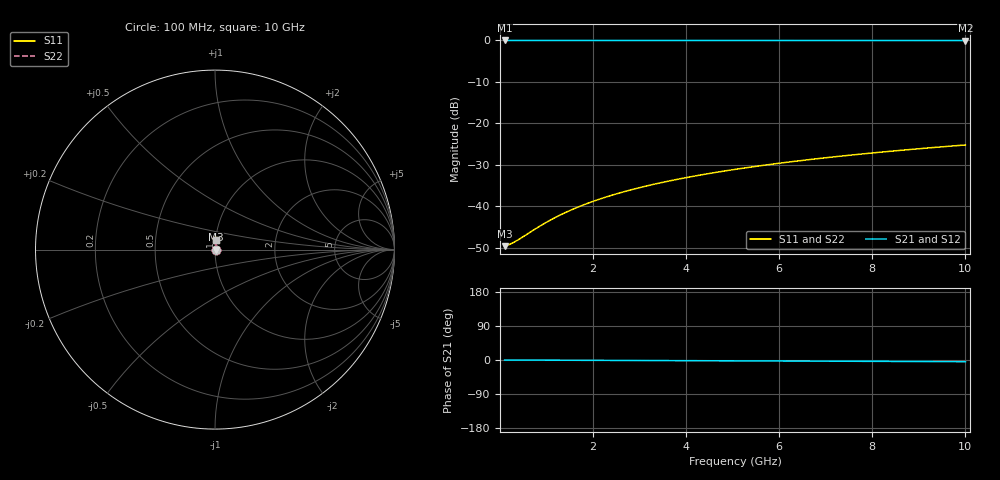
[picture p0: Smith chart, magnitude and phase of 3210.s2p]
# Hz S RI R 50.00
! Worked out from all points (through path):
!   100 points, 100 MHz to 10 GHz, reference 50 ohm
!   highest |S21| = -0.03 dB at 100 MHz (marker M1); lowest = 0.0 dB at 10 GHz (marker M2)
!   lowest |S11| = -49.6 dB at 100 MHz (marker M3), VSWR 1.01, Z = 50.3 + j0.0547 ohm
!   |S11| at or under -10 dB: start of sweep to end of sweep
!   |S22| runs from -49.6 to -25.2 dB; largest |S21 - S12| = 0
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1e8  0.00325 0.000544  0.9967 -0.000769  0.9967 -0.000769  0.00325 0.000544
2e8  0.00328 0.00109  0.9967 -0.00154  0.9967 -0.00154  0.00328 0.00109
3e8  0.00329 0.00163  0.9967 -0.00231  0.9967 -0.00231  0.00329 0.00163
4e8  0.00331 0.00217  0.9967 -0.00308  0.9967 -0.00308  0.00331 0.00217
9e8  0.00338 0.00489  0.9966 -0.00692  0.9966 -0.00692  0.00338 0.00489
1.2e9  0.00343 0.00652  0.9966 -0.00923  0.9966 -0.00923  0.00343 0.00652
1.5e9  0.00348 0.00815  0.9965 -0.0115  0.9965 -0.0115  0.00348 0.00815
1.8e9  0.00353 0.00978  0.9965 -0.0138  0.9965 -0.0138  0.00353 0.00978
2.1e9  0.00359 0.0114  0.9964 -0.0161  0.9964 -0.0161  0.00359 0.0114
2.5e9  0.00368 0.0136  0.9963 -0.0192  0.9963 -0.0192  0.00368 0.0136
2.9e9  0.00379 0.0158  0.9962 -0.0223  0.9962 -0.0223  0.00379 0.0158
3.4e9  0.00394 0.0185  0.996 -0.0261  0.996 -0.0261  0.00394 0.0185
3.8e9  0.00407 0.0206  0.9959 -0.0292  0.9959 -0.0292  0.00407 0.0206
4.2e9  0.00421 0.0228  0.9957 -0.0323  0.9957 -0.0323  0.00421 0.0228
4.6e9  0.00437 0.025  0.9956 -0.0354  0.9956 -0.0354  0.00437 0.025
5.1e9  0.00459 0.0277  0.9953 -0.0392  0.9953 -0.0392  0.00459 0.0277
5.9e9  0.00498 0.032  0.9949 -0.0454  0.9949 -0.0454  0.00498 0.032
6.7e9  0.00542 0.0364  0.9944 -0.0515  0.9944 -0.0515  0.00542 0.0364
7.5e9  0.00592 0.0407  0.9939 -0.0577  0.9939 -0.0577  0.00592 0.0407
8.4e9  0.00654 0.0456  0.9933 -0.0646  0.9933 -0.0646  0.00654 0.0456
9.2e9  0.00715 0.0499  0.9926 -0.0707  0.9926 -0.0707  0.00715 0.0499
1e10  0.00782 0.0542  0.9919 -0.0768  0.9919 -0.0768  0.00782 0.0542
